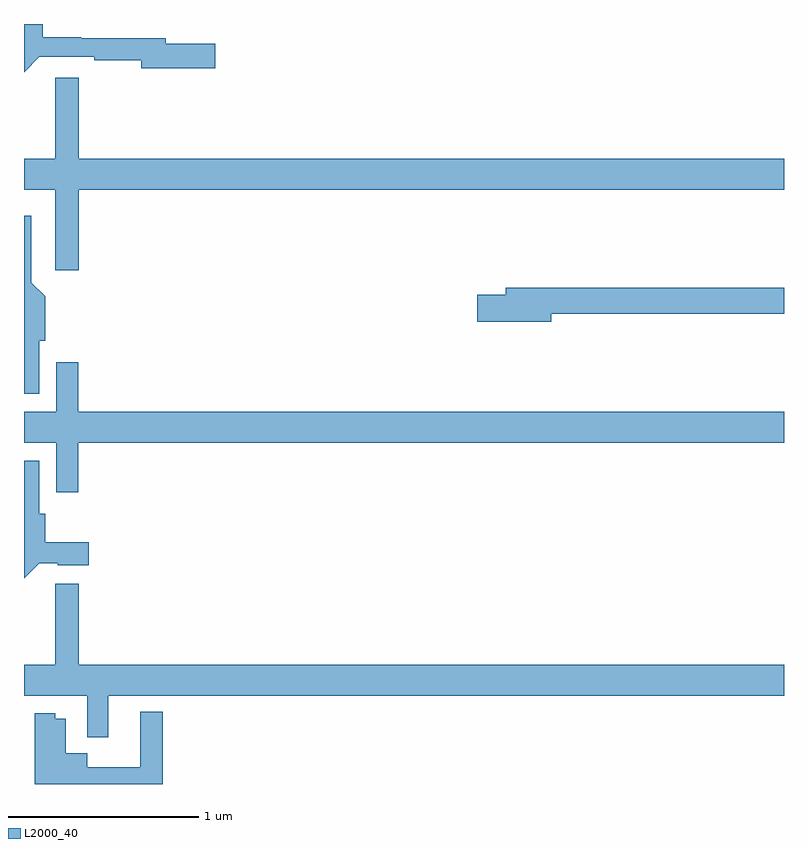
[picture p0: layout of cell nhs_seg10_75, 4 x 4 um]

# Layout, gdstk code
import gdstk
lib = gdstk.Library(unit=1e-6, precision=1e-09)
def P(c, l, *ps):  # polygons
    for p in ps: c.add(gdstk.Polygon(p, *l))
L2000_40 = (2000, 40)

nhs_seg10_75 = lib.new_cell('nhs_seg10_75')
P(nhs_seg10_75, L2000_40, [(113.08,1322.328),(113.371,1322.328),(113.371,1322.308),(113.618,1322.308),(113.618,1322.266),(114.007,1322.266),(114.007,1322.395),(113.746,1322.395),(113.746,1322.424),(113.3,1322.424),(113.3,1322.429),(113.098,1322.429),(113.098,1322.5),(113,1322.5),(113,1322.247)],
  [(113.288,1321.628),(117,1321.628),(117,1321.792),(113.288,1321.792),(113.288,1322.218),(113.165,1322.218),(113.165,1321.792),(113,1321.792),(113,1321.628),(113.165,1321.628),(113.165,1321.203),(113.288,1321.203)],
  [(113.08,1320.834),(113.111,1320.834),(113.111,1321.066),(113.039,1321.138),(113.039,1321.237),(113.038,1321.237),(113.038,1321.492),(113,1321.492),(113,1320.554),(113.08,1320.554)],
  [(115.774,1320.976),(117,1320.976),(117,1321.112),(115.535,1321.112),(115.535,1321.076),(115.386,1321.076),(115.386,1320.934),(115.774,1320.934)],
  [(113.285,1320.296),(117,1320.296),(117,1320.46),(113.285,1320.46),(113.285,1320.721),(113.169,1320.721),(113.169,1320.46),(113,1320.46),(113,1320.296),(113.169,1320.296),(113.169,1320.036),(113.285,1320.036)],
  [(113.079,1319.663),(113.178,1319.663),(113.178,1319.651),(113.341,1319.651),(113.341,1319.773),(113.111,1319.773),(113.111,1319.922),(113.08,1319.922),(113.08,1320.202),(113,1320.202),(113,1319.583)],
  [(113.443,1318.964),(117,1318.964),(117,1319.128),(113.288,1319.128),(113.288,1319.554),(113.165,1319.554),(113.165,1319.128),(113,1319.128),(113,1318.964),(113.333,1318.964),(113.333,1318.746),(113.443,1318.746)],
  [(113.731,1318.879),(113.612,1318.879),(113.612,1318.588),(113.332,1318.588),(113.332,1318.663),(113.221,1318.663),(113.221,1318.843),(113.164,1318.843),(113.164,1318.873),(113.057,1318.873),(113.057,1318.5),(113.731,1318.5)])

lib.write_gds('nhs_seg10_75.gds')
